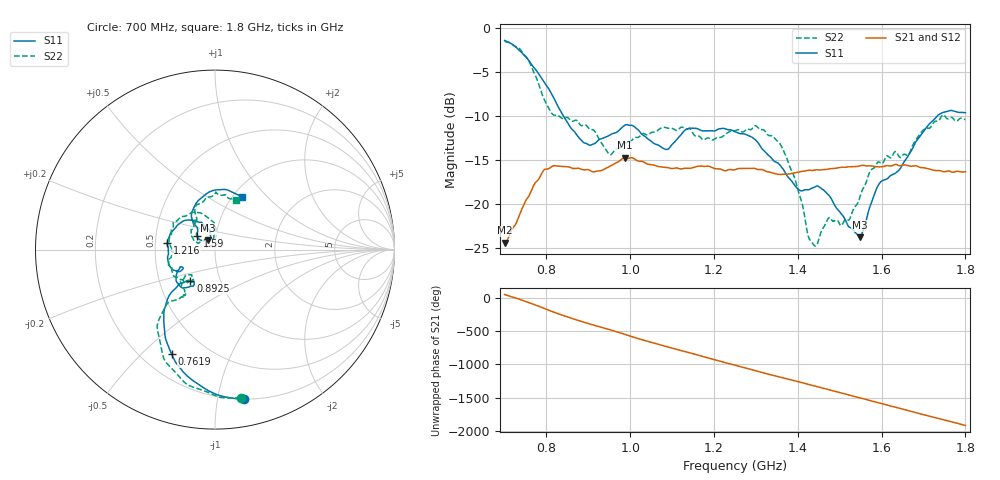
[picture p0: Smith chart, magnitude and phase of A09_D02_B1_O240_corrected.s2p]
! Created with skrf 1.9.0 (http://scikit-rf.org).
# Hz S RI R 50.0
!freq ReS11 ImS11 ReS21 ImS21 ReS12 ImS12 ReS22 ImS22
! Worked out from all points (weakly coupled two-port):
!   1601 points, 700 MHz to 1.8 GHz, reference 50 ohm
!   highest |S21| = -14.74 dB at 986.7 MHz (marker M1); lowest = -24.4 dB at 700 MHz (marker M2)
!   lowest |S11| = -23.8 dB at 1.548 GHz (marker M3), VSWR 1.14, Z = 46.2 + j4.9 ohm
!   |S11| at or under -10 dB: 840.4 MHz to 1.733 GHz (892.4 MHz wide, 69.4 % of centre)
!   |S22| runs from -24.8 to -1.5 dB; largest |S21 - S12| = 0.0035
!   S11 on the Smith chart (normalised r, x): 700 MHz: 0.20, -1.19; 761.9 MHz: 0.32, -0.62; 892.5 MHz: 0.72, -0.26; 1.216 GHz: 0.58, +0.04; 1.59 GHz: 0.81, +0.12; 1.8 GHz: 1.10, +0.73
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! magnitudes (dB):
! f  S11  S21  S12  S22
! 700 MHz  -1.4  -24.4  -24.2  -1.5
! 761.9 MHz  -4.0  -18.7  -18.6  -4.2
! 812.8 MHz  -7.5  -15.7  -15.7  -9.7
! 883.6 MHz  -12.8  -16.1  -16.0  -11.1
! 892.5 MHz  -13.1  -16.1  -16.2  -11.0
! 950.9 MHz  -12.2  -15.7  -15.7  -14.4
! 986.7 MHz  -11.1  -14.7  -14.8  -13.0
! 1.067 GHz  -13.3  -15.7  -15.7  -11.6
! 1.216 GHz  -11.4  -16.0  -16.0  -12.4
! 1.25 GHz  -11.8  -16.1  -16.0  -11.7
! 1.3 GHz  -12.8  -16.0  -16.0  -11.1
! 1.357 GHz  -15.6  -16.7  -16.6  -13.2
! 1.394 GHz  -17.9  -16.4  -16.4  -17.2
! 1.434 GHz  -18.2  -16.2  -16.1  -24.4
! 1.473 GHz  -19.0  -16.0  -16.0  -21.6
! 1.522 GHz  -22.6  -15.8  -15.8  -21.8
! 1.548 GHz  -23.8  -15.7  -15.7  -19.3
! 1.59 GHz  -18.1  -15.8  -15.8  -15.3
! 1.617 GHz  -17.0  -15.7  -15.6  -14.6
! 1.663 GHz  -14.5  -15.6  -15.6  -14.5
! 1.735 GHz  -9.9  -16.2  -16.2  -10.6
! 1.8 GHz  -9.6  -16.3  -16.3  -10.4
